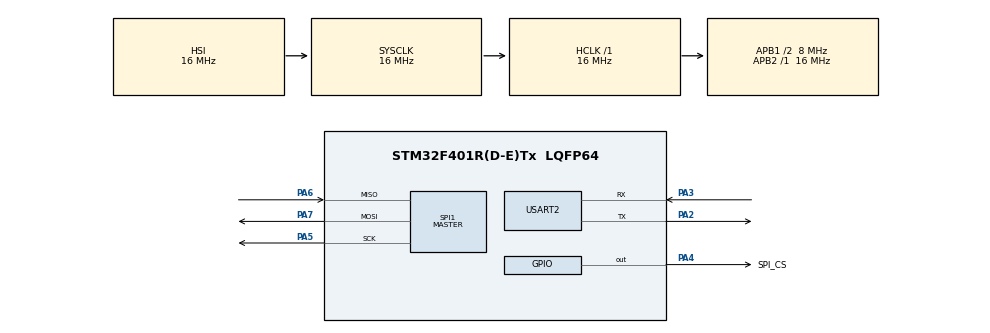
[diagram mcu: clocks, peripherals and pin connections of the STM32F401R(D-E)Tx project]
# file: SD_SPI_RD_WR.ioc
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FATFS._MAX_SS=4096
FATFS._USE_LFN=1
Mcu.Family=STM32F4
Mcu.Name=STM32F401R(D-E)Tx
Mcu.Package=LQFP64
NVIC.PriorityGroup=NVIC_PRIORITYGROUP_4
PA2.Mode=Asynchronous
PA2.Signal=USART2_TX
PA3.Mode=Asynchronous
PA3.Signal=USART2_RX
PA4.GPIO_Label=SPI_CS
PA4.Signal=GPIO_Output
PA5.Mode=Full_Duplex_Master
PA5.Signal=SPI1_SCK
PA6.Mode=Full_Duplex_Master
PA6.Signal=SPI1_MISO
PA7.Mode=Full_Duplex_Master
PA7.Signal=SPI1_MOSI
ProjectManager.HeapSize=0x200
ProjectManager.StackSize=0x400
ProjectManager.TargetToolchain=STM32CubeIDE
RCC.48MHZClocksFreq_Value=78500000
RCC.AHBFreq_Value=16000000
RCC.APB1CLKDivider=RCC_HCLK_DIV2
RCC.APB1Freq_Value=8000000
RCC.APB1TimFreq_Value=16000000
RCC.APB2Freq_Value=16000000
RCC.APB2TimFreq_Value=16000000
RCC.CortexFreq_Value=16000000
RCC.HCLKFreq_Value=16000000
RCC.HSE_VALUE=25000000
RCC.HSI_VALUE=16000000
RCC.LSE_VALUE=32768
RCC.PLLM=8
RCC.PLLN=157
RCC.SYSCLKFreq_VALUE=16000000
RCC.VCOOutputFreq_Value=314000000
SPI1.BaudRatePrescaler=SPI_BAUDRATEPRESCALER_8
SPI1.Direction=SPI_DIRECTION_2LINES
SPI1.Mode=SPI_MODE_MASTER
SPI1.VirtualType=VM_MASTER
USART2.VirtualMode=VM_ASYNC
VP_FATFS_VS_Generic.Mode=User_defined
board=custom

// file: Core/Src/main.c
/* USER CODE BEGIN Header */
/**
  ******************************************************************************
  * @file           : main.c
  * @brief          : Main program body
  ******************************************************************************
  * @attention
  *
  * <h2><center>&copy; Copyright (c) 2020 STMicroelectronics.
  * All rights reserved.</center></h2>
  *
  * This software component is licensed by ST under BSD 3-Clause license,
  * the "License"; You may not use this file except in compliance with the
  * License. You may obtain a copy of the License at:
  *                        opensource.org/licenses/BSD-3-Clause
  *
  ******************************************************************************
  */
/* USER CODE END Header */
#include "main.h"
#include "fatfs.h"

/* USER CODE BEGIN Includes */
#include "fatfs_sd.h"
#include "string.h"
#include "stdio.h"
#include "stdlib.h"
#include "stdarg.h"

/* USER CODE END Includes */

SPI_HandleTypeDef hspi1;

UART_HandleTypeDef huart2;

void SystemClock_Config(void);
static void MX_GPIO_Init(void);
static void MX_SPI1_Init(void);
static void MX_USART2_UART_Init(void);
/* USER CODE BEGIN PFP */
void sendUART(char *format,...);
/* USER CODE END PFP */

/* USER CODE BEGIN 0 */
FATFS fs; // file system
FIL fil; //file
FRESULT fresult; //to store data from each operation
char buffer[1024];

UINT br, wr;	//hold count of rd and wr

//variables for capacity
FATFS *pfs;
DWORD fre_clust;
uint32_t total, free_space;

/* USER CODE END 0 */

int main(void)
{

  /* MCU Configuration--------------------------------------------------------*/

  /* Reset of all peripherals, Initializes the Flash interface and the Systick. */
  HAL_Init();

  /* Configure the system clock */
  SystemClock_Config();

  /* Initialize all configured peripherals */
	MX_GPIO_Init();
	MX_SPI1_Init();
	MX_USART2_UART_Init();
	MX_FATFS_Init();
  /* USER CODE BEGIN 2 */

	fresult = f_mount(&fs, "", 0);	//mount SD card
	if(fresult != FR_OK)
	  sendUART("Could not mount SD card!!\n");
	else
	  sendUART("Successfully mounted SD card!\n");

	f_getfree("", &fre_clust, &pfs);
	total = (uint32_t)((pfs->n_fatent - 2) * pfs->csize * 0.5);
	sprintf(buffer, "SD Total Size: %lu\n", total);
	sendUART(buffer);
	free_space = (uint32_t)(fre_clust * pfs->csize * 0.5);
	sprintf(buffer, "SD Free Space: %lu\n", free_space);
	sendUART(buffer);

	fresult = f_open(&fil, "file1.txt", FA_OPEN_ALWAYS | FA_READ | FA_WRITE);	//open file / create is non-existent

	fresult = f_puts("this data is from the first file\n\n", &fil);

	sendUART("file1.txt created/opened and written to\n");

	fresult = f_close(&fil);

	fresult = f_open(&fil, "file1.txt", FA_READ);	//open file / create is non-existent

	f_gets(buffer, 1024, &fil);

	sendUART("reading... output = \n		");
	sendUART(buffer);

	fresult = f_close(&fil);

  /* USER CODE END 2 */

  /* Infinite loop */
  while (1)
  {

  }
}

void SystemClock_Config(void)
{
  RCC_OscInitTypeDef RCC_OscInitStruct = {0};
  RCC_ClkInitTypeDef RCC_ClkInitStruct = {0};

  /** Configure the main internal regulator output voltage
  */
  __HAL_RCC_PWR_CLK_ENABLE();
  __HAL_PWR_VOLTAGESCALING_CONFIG(PWR_REGULATOR_VOLTAGE_SCALE2);
  /** Initializes the RCC Oscillators according to the specified parameters
  * in the RCC_OscInitTypeDef structure.
  */
  RCC_OscInitStruct.OscillatorType = RCC_OSCILLATORTYPE_HSI;
  RCC_OscInitStruct.HSIState = RCC_HSI_ON;
  RCC_OscInitStruct.HSICalibrationValue = RCC_HSICALIBRATION_DEFAULT;
  RCC_OscInitStruct.PLL.PLLState = RCC_PLL_NONE;
  if (HAL_RCC_OscConfig(&RCC_OscInitStruct) != HAL_OK)
  {
    Error_Handler();
  }
  /** Initializes the CPU, AHB and APB buses clocks
  */
  RCC_ClkInitStruct.ClockType = RCC_CLOCKTYPE_HCLK|RCC_CLOCKTYPE_SYSCLK
                              |RCC_CLOCKTYPE_PCLK1|RCC_CLOCKTYPE_PCLK2;
  RCC_ClkInitStruct.SYSCLKSource = RCC_SYSCLKSOURCE_HSI;
  RCC_ClkInitStruct.AHBCLKDivider = RCC_SYSCLK_DIV1;
  RCC_ClkInitStruct.APB1CLKDivider = RCC_HCLK_DIV2;
  RCC_ClkInitStruct.APB2CLKDivider = RCC_HCLK_DIV1;

  if (HAL_RCC_ClockConfig(&RCC_ClkInitStruct, FLASH_LATENCY_0) != HAL_OK)
  {
    Error_Handler();
  }
}

static void MX_SPI1_Init(void)
{

  /* SPI1 parameter configuration*/
  hspi1.Instance = SPI1;
  hspi1.Init.Mode = SPI_MODE_MASTER;
  hspi1.Init.Direction = SPI_DIRECTION_2LINES;
  hspi1.Init.DataSize = SPI_DATASIZE_8BIT;
  hspi1.Init.CLKPolarity = SPI_POLARITY_LOW;
  hspi1.Init.CLKPhase = SPI_PHASE_1EDGE;
  hspi1.Init.NSS = SPI_NSS_SOFT;
  hspi1.Init.BaudRatePrescaler = SPI_BAUDRATEPRESCALER_8;
  hspi1.Init.FirstBit = SPI_FIRSTBIT_MSB;
  hspi1.Init.TIMode = SPI_TIMODE_DISABLE;
  hspi1.Init.CRCCalculation = SPI_CRCCALCULATION_DISABLE;
  hspi1.Init.CRCPolynomial = 10;
  if (HAL_SPI_Init(&hspi1) != HAL_OK)
  {
    Error_Handler();
  }

}

static void MX_USART2_UART_Init(void)
{

  huart2.Instance = USART2;
  huart2.Init.BaudRate = 115200;
  huart2.Init.WordLength = UART_WORDLENGTH_8B;
  huart2.Init.StopBits = UART_STOPBITS_1;
  huart2.Init.Parity = UART_PARITY_NONE;
  huart2.Init.Mode = UART_MODE_TX_RX;
  huart2.Init.HwFlowCtl = UART_HWCONTROL_NONE;
  huart2.Init.OverSampling = UART_OVERSAMPLING_16;
  if (HAL_UART_Init(&huart2) != HAL_OK)
  {
    Error_Handler();
  }

}

static void MX_GPIO_Init(void)
{
  GPIO_InitTypeDef GPIO_InitStruct = {0};

  /* GPIO Ports Clock Enable */
  __HAL_RCC_GPIOA_CLK_ENABLE();

  /*Configure GPIO pin Output Level */
  HAL_GPIO_WritePin(SPI_CS_GPIO_Port, SPI_CS_Pin, GPIO_PIN_RESET);

  /*Configure GPIO pin : SPI_CS_Pin */
  GPIO_InitStruct.Pin = SPI_CS_Pin;
  GPIO_InitStruct.Mode = GPIO_MODE_OUTPUT_PP;
  GPIO_InitStruct.Pull = GPIO_NOPULL;
  GPIO_InitStruct.Speed = GPIO_SPEED_FREQ_LOW;
  HAL_GPIO_Init(SPI_CS_GPIO_Port, &GPIO_InitStruct);

}

/* USER CODE BEGIN 4 */
void sendUART(char *format,...) {
    char str[80];

    /*Extract the the argument list using VA apis */
    va_list args;
    va_start(args, format);
    vsprintf(str, format,args);
    HAL_UART_Transmit(&huart2,(uint8_t *)str, strlen(str),HAL_MAX_DELAY);
    va_end(args);
}
/* USER CODE END 4 */

void Error_Handler(void)
{
  __disable_irq();
  while (1)
  {
  }
}

/************************ (C) COPYRIGHT STMicroelectronics *****END OF FILE****/
